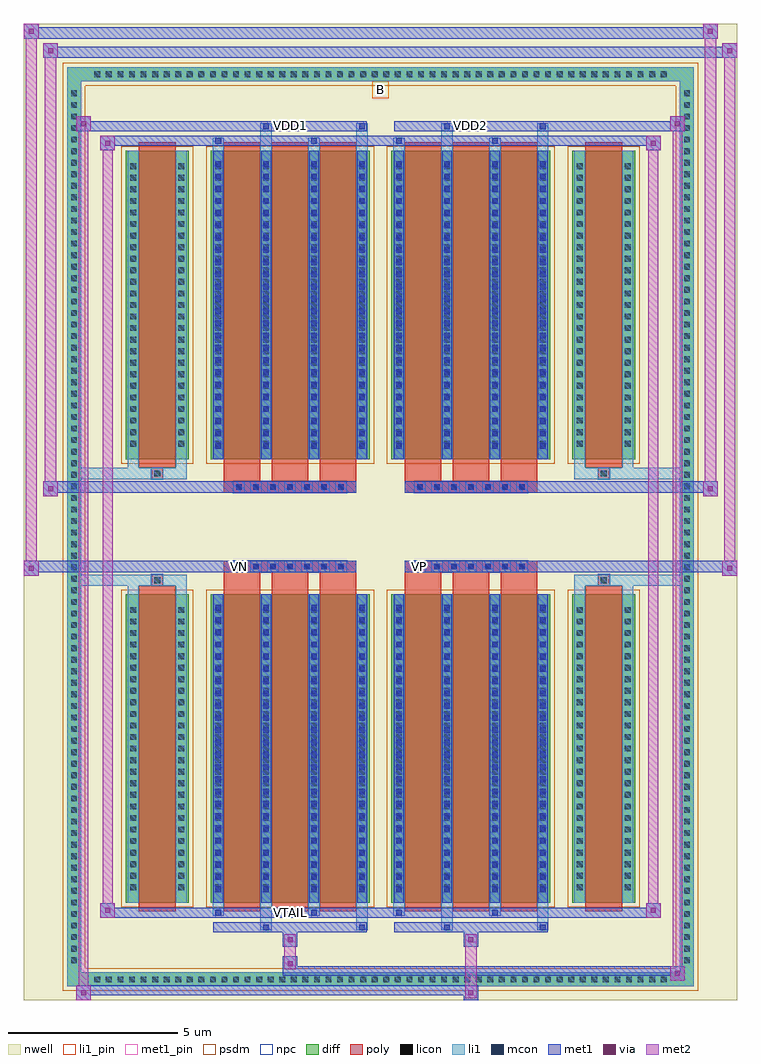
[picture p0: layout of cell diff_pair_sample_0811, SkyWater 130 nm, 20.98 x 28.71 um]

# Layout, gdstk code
import gdstk
lib = gdstk.Library(unit=1e-6, precision=5e-09)
def R(c, l, rs):  # rectangles x0, y0, x1, y1
    for r in rs: c.add(gdstk.rectangle(r[:2], r[2:], *l))
def A(c, l, x, y, w, h, nx, ny, dx, dy):  # array of equal rectangles
    R(c, l, [(x+i*dx, y+j*dy, x+i*dx+w, y+j*dy+h) for i in range(nx) for j in range(ny)])
def P(c, l, *ps):  # polygons
    for p in ps: c.add(gdstk.Polygon(p, *l))
nwell = (64, 20)
diff = (65, 20)
poly = (66, 20)
licon = (66, 44)
li1_pin = (67, 16)
li1 = (67, 20)
mcon = (67, 44)
met1_pin = (68, 16)
met1 = (68, 20)
via = (68, 44)
met2 = (69, 20)
psdm = (94, 20)
npc = (95, 20)

diff_pair_sample_0811 = lib.new_cell('diff_pair_sample_0811')
R(diff_pair_sample_0811, nwell, [(-10.49,-13.92,10.49,14.79), (-7.81,-12.11,-0.01,-0.805), (0.01,-12.11,7.81,-0.805), (-7.81,0.805,-0.01,12.11), (0.01,0.805,7.81,12.11)])
A(diff_pair_sample_0811, diff, -8.535, -13.52, 0.41, 0.41, 50, 2, 0.34, 26.63)
A(diff_pair_sample_0811, diff, -9.22, -12.955, 0.41, 0.41, 1, 76, 0, 0.34)
A(diff_pair_sample_0811, diff, 8.81, -12.955, 0.41, 0.41, 1, 76, 0, 0.34)
R(diff_pair_sample_0811, diff, [(-8.535,-13.52,8.535,-13.11), (-9.22,-12.955,-8.81,12.955), (8.81,-12.955,9.22,12.955), (-7.5,-11.065,-5.64,-1.985), (-5,-11.065,-0.32,-1.985), (0.32,-11.065,5,-1.985), (5.64,-11.065,7.5,-1.985), (-7.5,1.985,-5.64,11.065), (-5,1.985,-0.32,11.065), (0.32,1.985,5,11.065), (5.64,1.985,7.5,11.065), (-8.535,13.11,8.535,13.52)])
P(diff_pair_sample_0811, diff, [(9.22,13.52),(-9.22,13.52),(-9.22,-13.11),(-8.81,-13.11),(-8.81,13.11),(8.81,13.11),(8.81,-13.11),(-8.81,-13.11),(-9.22,-13.11),(-9.22,-13.52),(9.22,-13.52)])
A(diff_pair_sample_0811, poly, -4.61, -11.315, 1.08, 9.58, 3, 2, 1.41, 13.05)
A(diff_pair_sample_0811, poly, 0.71, -11.315, 1.08, 9.58, 3, 2, 1.41, 13.05)
A(diff_pair_sample_0811, poly, -4.61, -1.735, 1.08, 0.4, 3, 2, 1.41, 3.07)
A(diff_pair_sample_0811, poly, 0.71, -1.735, 1.08, 0.4, 3, 2, 1.41, 3.07)
A(diff_pair_sample_0811, poly, -4.325, -1.335, 0.33, 0.33, 7, 2, 0.5, 2.34)
A(diff_pair_sample_0811, poly, 0.995, -1.335, 0.33, 0.33, 7, 2, 0.5, 2.34)
R(diff_pair_sample_0811, poly, [(-7.11,-11.315,-6.03,-1.735), (6.03,-11.315,7.11,-1.735), (-6.735,-1.735,-6.405,-1.405), (-6.735,-1.735,-6.405,-1.405), (6.405,-1.735,6.735,-1.405), (6.405,-1.735,6.735,-1.405), (-4.61,-1.335,-0.71,-1.005), (0.71,-1.335,4.61,-1.005), (-4.61,1.005,-0.71,1.335), (0.71,1.005,4.61,1.335), (-6.735,1.405,-6.405,1.735), (-6.735,1.405,-6.405,1.735), (6.405,1.405,6.735,1.735), (6.405,1.405,6.735,1.735), (-7.11,1.735,-6.03,11.315), (6.03,1.735,7.11,11.315)])
A(diff_pair_sample_0811, licon, -8.415, -13.4, 0.17, 0.17, 50, 2, 0.34, 26.63)
A(diff_pair_sample_0811, licon, -9.1, -12.835, 0.17, 0.17, 1, 76, 0, 0.34)
A(diff_pair_sample_0811, licon, 8.93, -12.835, 0.17, 0.17, 1, 76, 0, 0.34)
A(diff_pair_sample_0811, licon, -7.36, -10.69, 0.17, 0.17, 1, 25, 0, 0.34)
A(diff_pair_sample_0811, licon, -5.95, -10.69, 0.17, 0.17, 1, 25, 0, 0.34)
A(diff_pair_sample_0811, licon, -4.86, -10.69, 0.17, 0.17, 4, 25, 1.41, 0.34)
A(diff_pair_sample_0811, licon, 0.46, -10.69, 0.17, 0.17, 4, 25, 1.41, 0.34)
A(diff_pair_sample_0811, licon, 5.78, -10.69, 0.17, 0.17, 1, 25, 0, 0.34)
A(diff_pair_sample_0811, licon, 7.19, -10.69, 0.17, 0.17, 1, 25, 0, 0.34)
A(diff_pair_sample_0811, licon, -4.245, -1.255, 0.17, 0.17, 7, 2, 0.5, 2.34)
A(diff_pair_sample_0811, licon, 1.075, -1.255, 0.17, 0.17, 7, 2, 0.5, 2.34)
A(diff_pair_sample_0811, licon, -7.36, 2.36, 0.17, 0.17, 1, 25, 0, 0.34)
A(diff_pair_sample_0811, licon, -5.95, 2.36, 0.17, 0.17, 1, 25, 0, 0.34)
A(diff_pair_sample_0811, licon, -4.86, 2.36, 0.17, 0.17, 4, 25, 1.41, 0.34)
A(diff_pair_sample_0811, licon, 0.46, 2.36, 0.17, 0.17, 4, 25, 1.41, 0.34)
A(diff_pair_sample_0811, licon, 5.78, 2.36, 0.17, 0.17, 1, 25, 0, 0.34)
A(diff_pair_sample_0811, licon, 7.19, 2.36, 0.17, 0.17, 1, 25, 0, 0.34)
R(diff_pair_sample_0811, licon, [(-6.655,-1.655,-6.485,-1.485), (6.485,-1.655,6.655,-1.485), (-6.655,1.485,-6.485,1.655), (6.485,1.485,6.655,1.655)])
R(diff_pair_sample_0811, li1_pin, [(-0.25,12.61,0.25,13.11)])
A(diff_pair_sample_0811, li1, -8.495, -13.48, 0.33, 0.33, 50, 2, 0.34, 26.63)
A(diff_pair_sample_0811, li1, -9.18, -12.915, 0.33, 0.33, 1, 76, 0, 0.34)
A(diff_pair_sample_0811, li1, 8.85, -12.915, 0.33, 0.33, 1, 76, 0, 0.34)
A(diff_pair_sample_0811, li1, -4.94, -11.065, 0.33, 9.08, 4, 2, 1.41, 13.05)
A(diff_pair_sample_0811, li1, 0.38, -11.065, 0.33, 9.08, 4, 2, 1.41, 13.05)
A(diff_pair_sample_0811, li1, -7.44, -10.77, 0.33, 0.33, 1, 25, 0, 0.34)
A(diff_pair_sample_0811, li1, -6.03, -10.77, 0.33, 0.33, 1, 25, 0, 0.34)
A(diff_pair_sample_0811, li1, -4.94, -10.77, 0.33, 0.33, 4, 25, 1.41, 0.34)
A(diff_pair_sample_0811, li1, 0.38, -10.77, 0.33, 0.33, 4, 25, 1.41, 0.34)
A(diff_pair_sample_0811, li1, 5.7, -10.77, 0.33, 0.33, 1, 25, 0, 0.34)
A(diff_pair_sample_0811, li1, 7.11, -10.77, 0.33, 0.33, 1, 25, 0, 0.34)
A(diff_pair_sample_0811, li1, -4.86, -10.75, 0.17, 0.17, 4, 24, 1.41, 0.36)
A(diff_pair_sample_0811, li1, -4.86, -10.75, 0.17, 8.45, 4, 2, 1.41, 13.05)
A(diff_pair_sample_0811, li1, 0.46, -10.75, 0.17, 0.17, 4, 24, 1.41, 0.36)
A(diff_pair_sample_0811, li1, 0.46, -10.75, 0.17, 8.45, 4, 2, 1.41, 13.05)
A(diff_pair_sample_0811, li1, -4.325, -1.335, 0.33, 0.33, 7, 2, 0.5, 2.34)
A(diff_pair_sample_0811, li1, 0.995, -1.335, 0.33, 0.33, 7, 2, 0.5, 2.34)
A(diff_pair_sample_0811, li1, -7.44, 2.28, 0.33, 0.33, 1, 25, 0, 0.34)
A(diff_pair_sample_0811, li1, -6.03, 2.28, 0.33, 0.33, 1, 25, 0, 0.34)
A(diff_pair_sample_0811, li1, -4.94, 2.28, 0.33, 0.33, 4, 25, 1.41, 0.34)
A(diff_pair_sample_0811, li1, 0.38, 2.28, 0.33, 0.33, 4, 25, 1.41, 0.34)
A(diff_pair_sample_0811, li1, 5.7, 2.28, 0.33, 0.33, 1, 25, 0, 0.34)
A(diff_pair_sample_0811, li1, 7.11, 2.28, 0.33, 0.33, 1, 25, 0, 0.34)
A(diff_pair_sample_0811, li1, -4.86, 2.3, 0.17, 0.17, 4, 24, 1.41, 0.36)
A(diff_pair_sample_0811, li1, 0.46, 2.3, 0.17, 0.17, 4, 24, 1.41, 0.36)
R(diff_pair_sample_0811, li1, [(-9.22,-13.52,-8.81,-13.11), (-9.22,-13.52,-8.81,-13.11), (-8.81,-13.52,8.81,-13.11), (8.81,-13.52,9.22,-13.11), (8.81,-13.52,9.22,-13.11), (-9.22,-13.11,-8.81,13.11), (8.81,-13.11,9.22,13.11), (-3.53,-11.87,-3.2,-11.065), (-3.45,-11.87,-3.28,-11.7), (-0.71,-11.87,-0.38,-11.065), (-0.63,-11.87,-0.46,-11.7), (1.79,-11.87,2.12,-11.065), (1.87,-11.87,2.04,-11.7), (4.61,-11.87,4.94,-11.065), (4.69,-11.87,4.86,-11.7), (-4.94,-11.44,-4.61,-11.065), (-4.86,-11.44,-4.69,-11.27), (-2.12,-11.44,-1.79,-11.065), (-2.04,-11.44,-1.87,-11.27), (0.38,-11.44,0.71,-11.065), (0.46,-11.44,0.63,-11.27), (3.2,-11.44,3.53,-11.065), (3.28,-11.44,3.45,-11.27), (-7.44,-11.065,-7.11,-1.985), (-6.03,-11.065,-5.7,-1.985), (5.7,-11.065,6.03,-1.985), (7.11,-11.065,7.44,-1.985), (-7.44,-1.985,-7.11,-1.405), (-6.03,-1.985,-5.7,-1.405), (5.7,-1.985,6.03,-1.405), (7.11,-1.985,7.44,-1.405), (-9.22,-1.735,-6.735,-1.405), (-7.44,-1.735,-6.735,-1.405), (-6.735,-1.735,-6.405,-1.405), (-6.405,-1.735,-5.7,-1.405), (5.7,-1.735,6.405,-1.405), (6.405,-1.735,6.735,-1.405), (6.405,-1.735,9.22,-1.405), (6.735,-1.735,7.44,-1.405), (-9.22,1.405,-6.735,1.735), (-7.44,1.405,-6.735,1.735), (-7.44,1.405,-7.11,1.985), (-6.735,1.405,-6.405,1.735), (-6.405,1.405,-5.7,1.735), (-6.03,1.405,-5.7,1.985), (5.7,1.405,6.405,1.735), (5.7,1.405,6.03,1.985), (6.405,1.405,6.735,1.735), (6.405,1.405,9.22,1.735), (6.735,1.405,7.44,1.735), (7.11,1.405,7.44,1.985), (-7.44,1.985,-7.11,11.065), (-6.03,1.985,-5.7,11.065), (5.7,1.985,6.03,11.065), (7.11,1.985,7.44,11.065), (-4.94,11.065,-4.61,11.44), (-3.53,11.065,-3.2,11.87), (-2.12,11.065,-1.79,11.44), (-0.71,11.065,-0.38,11.87), (0.38,11.065,0.71,11.44), (1.79,11.065,2.12,11.87), (3.2,11.065,3.53,11.44), (4.61,11.065,4.94,11.87), (-4.86,11.27,-4.69,11.44), (-2.04,11.27,-1.87,11.44), (0.46,11.27,0.63,11.44), (3.28,11.27,3.45,11.44), (-3.45,11.7,-3.28,11.87), (-0.63,11.7,-0.46,11.87), (1.87,11.7,2.04,11.87), (4.69,11.7,4.86,11.87), (-9.22,13.11,-8.81,13.52), (-9.22,13.11,-8.81,13.52), (-8.81,13.11,8.81,13.52), (8.81,13.11,9.22,13.52), (8.81,13.11,9.22,13.52)])
A(diff_pair_sample_0811, mcon, -4.86, -10.75, 0.17, 0.17, 4, 24, 1.41, 0.36)
A(diff_pair_sample_0811, mcon, 0.46, -10.75, 0.17, 0.17, 4, 24, 1.41, 0.36)
A(diff_pair_sample_0811, mcon, -4.245, -1.255, 0.17, 0.17, 7, 2, 0.5, 2.34)
A(diff_pair_sample_0811, mcon, 1.075, -1.255, 0.17, 0.17, 7, 2, 0.5, 2.34)
A(diff_pair_sample_0811, mcon, -4.86, 2.3, 0.17, 0.17, 4, 24, 1.41, 0.36)
A(diff_pair_sample_0811, mcon, 0.46, 2.3, 0.17, 0.17, 4, 24, 1.41, 0.36)
R(diff_pair_sample_0811, mcon, [(-3.45,-11.87,-3.28,-11.7), (-0.63,-11.87,-0.46,-11.7), (1.87,-11.87,2.04,-11.7), (4.69,-11.87,4.86,-11.7), (-4.86,-11.44,-4.69,-11.27), (-2.04,-11.44,-1.87,-11.27), (0.46,-11.44,0.63,-11.27), (3.28,-11.44,3.45,-11.27), (-4.86,11.27,-4.69,11.44), (-2.04,11.27,-1.87,11.44), (0.46,11.27,0.63,11.44), (3.28,11.27,3.45,11.44), (-3.45,11.7,-3.28,11.87), (-0.63,11.7,-0.46,11.87), (1.87,11.7,2.04,11.87), (4.69,11.7,4.86,11.87)])
R(diff_pair_sample_0811, met1_pin, [(-2.795,-11.48,-2.525,-11.21), (-4.295,-1.295,-4.025,-1.025), (1.025,-1.295,1.295,-1.025), (-2.795,11.66,-2.525,11.93), (2.525,11.66,2.795,11.93)])
A(diff_pair_sample_0811, met1, -4.92, -11.065, 0.29, 9.08, 4, 2, 1.41, 13.05)
A(diff_pair_sample_0811, met1, 0.4, -11.065, 0.29, 9.08, 4, 2, 1.41, 13.05)
A(diff_pair_sample_0811, met1, -4.92, -10.81, 0.29, 0.29, 4, 24, 1.41, 0.36)
A(diff_pair_sample_0811, met1, 0.4, -10.81, 0.29, 0.29, 4, 24, 1.41, 0.36)
A(diff_pair_sample_0811, met1, -4.305, -1.315, 0.29, 0.29, 7, 2, 0.5, 2.34)
A(diff_pair_sample_0811, met1, 1.015, -1.315, 0.29, 0.29, 7, 2, 0.5, 2.34)
A(diff_pair_sample_0811, met1, -4.92, 2.24, 0.29, 0.29, 4, 24, 1.41, 0.36)
A(diff_pair_sample_0811, met1, 0.4, 2.24, 0.29, 0.29, 4, 24, 1.41, 0.36)
R(diff_pair_sample_0811, met1, [(-8.95,-13.92,-8.52,-13.49), (2.445,-13.92,2.875,-13.49), (-8.95,-13.78,2.875,-13.49), (8.52,-13.35,8.95,-12.92), (-2.875,-13.21,8.95,-12.92), (-2.875,-13.07,-2.445,-12.64), (-2.875,-12.36,-2.445,-11.93), (2.445,-12.36,2.875,-11.93), (-4.92,-11.93,-0.4,-11.64), (-3.51,-11.93,-3.22,-11.64), (-0.69,-11.93,-0.4,-11.64), (0.4,-11.93,4.92,-11.64), (1.81,-11.93,2.1,-11.64), (4.63,-11.93,4.92,-11.64), (-8.24,-11.5,-7.81,-11.07), (-8.24,-11.5,-4.92,-11.21), (-4.92,-11.5,-4.63,-11.21), (-4.92,-11.5,-0.4,-11.21), (-2.1,-11.5,-1.81,-11.21), (-0.4,-11.5,0.4,-11.21), (0.4,-11.5,0.69,-11.21), (0.4,-11.5,4.92,-11.21), (3.22,-11.5,3.51,-11.21), (4.92,-11.5,8.24,-11.21), (7.81,-11.5,8.24,-11.07), (-10.49,-1.435,-10.06,-1.005), (10.06,-1.435,10.49,-1.005), (-10.49,-1.335,-0.71,-1.005), (-4.61,-1.335,-0.71,-1.005), (0.71,-1.335,4.61,-1.005), (0.71,-1.335,10.49,-1.005), (-9.92,0.905,-9.49,1.335), (9.49,0.905,9.92,1.335), (-9.92,1.005,-4.61,1.335), (-4.61,1.005,-0.71,1.335), (0.71,1.005,4.61,1.335), (4.61,1.005,9.92,1.335), (-8.24,11.07,-7.81,11.5), (7.81,11.07,8.24,11.5), (-8.24,11.21,-4.92,11.5), (-4.92,11.21,-4.63,11.5), (-4.92,11.21,-0.4,11.5), (-2.1,11.21,-1.81,11.5), (-0.4,11.21,0.4,11.5), (0.4,11.21,0.69,11.5), (0.4,11.21,4.92,11.5), (3.22,11.21,3.51,11.5), (4.92,11.21,8.24,11.5), (-8.95,11.64,-8.52,12.07), (-8.95,11.64,-4.92,11.93), (-4.92,11.64,-0.4,11.93), (-3.51,11.64,-3.22,11.93), (-0.69,11.64,-0.4,11.93), (0.4,11.64,4.92,11.93), (1.81,11.64,2.1,11.93), (4.63,11.64,4.92,11.93), (4.92,11.64,8.95,11.93), (8.52,11.64,8.95,12.07), (-9.92,13.79,-9.49,14.22), (-9.92,13.79,-7.81,14.12), (-7.81,13.79,7.81,14.12), (7.81,13.79,10.49,14.12), (10.06,13.79,10.49,14.22), (-10.49,14.36,-10.06,14.79), (-10.49,14.36,-7.81,14.69), (-7.81,14.36,7.81,14.69), (7.81,14.36,9.92,14.69), (9.49,14.36,9.92,14.79)])
R(diff_pair_sample_0811, via, [(-8.81,-13.78,-8.66,-13.63), (2.585,-13.78,2.735,-13.63), (8.66,-13.21,8.81,-13.06), (-2.735,-12.93,-2.585,-12.78), (-2.735,-12.22,-2.585,-12.07), (2.585,-12.22,2.735,-12.07), (-8.1,-11.36,-7.95,-11.21), (7.95,-11.36,8.1,-11.21), (-10.35,-1.295,-10.2,-1.145), (10.2,-1.295,10.35,-1.145), (-9.78,1.045,-9.63,1.195), (9.63,1.045,9.78,1.195), (-8.1,11.21,-7.95,11.36), (7.95,11.21,8.1,11.36), (-8.81,11.78,-8.66,11.93), (8.66,11.78,8.81,11.93), (-9.78,13.93,-9.63,14.08), (10.2,13.93,10.35,14.08), (-10.35,14.5,-10.2,14.65), (9.63,14.5,9.78,14.65)])
R(diff_pair_sample_0811, met2, [(-8.95,-13.92,-8.52,-13.49), (-8.88,-13.92,-8.59,12.07), (-8.59,-13.92,-8.52,-13.49), (-8.9,-13.87,-8.57,-13.54), (2.495,-13.87,2.825,-13.54), (2.495,-13.54,2.825,-12.31), (8.52,-13.35,8.95,-12.92), (8.59,-13.35,8.88,12.07), (8.88,-13.35,8.95,-12.92), (8.57,-13.3,8.9,-12.97), (-2.825,-13.02,-2.495,-12.69), (-2.825,-12.69,-2.495,-12.31), (-2.825,-12.31,-2.495,-11.98), (2.495,-12.31,2.825,-11.98), (-8.24,-11.5,-7.81,-11.07), (-8.17,-11.5,-7.88,11.5), (-7.88,-11.5,-7.81,-11.07), (7.81,-11.5,8.24,-11.07), (7.88,-11.5,8.17,11.5), (8.17,-11.5,8.24,-11.07), (-8.19,-11.45,-7.86,-11.12), (7.86,-11.45,8.19,-11.12), (-10.49,-1.435,-10.06,-1.005), (-10.44,-1.435,-10.11,14.79), (-10.11,-1.435,-10.06,-1.005), (10.06,-1.435,10.49,-1.005), (10.11,-1.435,10.44,14.22), (10.44,-1.435,10.49,-1.005), (-10.44,-1.385,-10.11,-1.055), (10.11,-1.385,10.44,-1.055), (-9.92,0.905,-9.49,1.335), (-9.87,0.905,-9.54,14.22), (-9.54,0.905,-9.49,1.335), (9.49,0.905,9.92,1.335), (9.54,0.905,9.87,14.79), (9.87,0.905,9.92,1.335), (-9.87,0.955,-9.54,1.285), (9.54,0.955,9.87,1.285), (-8.24,11.07,-7.81,11.5), (-7.88,11.07,-7.81,11.5), (7.81,11.07,8.24,11.5), (8.17,11.07,8.24,11.5), (-8.19,11.12,-7.86,11.45), (7.86,11.12,8.19,11.45), (-8.95,11.64,-8.52,12.07), (-8.59,11.64,-8.52,12.07), (8.52,11.64,8.95,12.07), (8.88,11.64,8.95,12.07), (-8.9,11.69,-8.57,12.02), (8.57,11.69,8.9,12.02), (-9.92,13.79,-9.49,14.22), (-9.54,13.79,-9.49,14.22), (10.06,13.79,10.49,14.22), (10.44,13.79,10.49,14.22), (-9.87,13.84,-9.54,14.17), (10.11,13.84,10.44,14.17), (-10.49,14.36,-10.06,14.79), (-10.11,14.36,-10.06,14.79), (9.49,14.36,9.92,14.79), (9.87,14.36,9.92,14.79), (-10.44,14.41,-10.11,14.74), (9.54,14.41,9.87,14.74)])
R(diff_pair_sample_0811, psdm, [(-7.63,-11.195,-5.51,-1.855), (-5.13,-11.195,-0.19,-1.855), (0.19,-11.195,5.13,-1.855), (5.51,-11.195,7.63,-1.855), (-7.63,1.855,-5.51,11.195), (-5.13,1.855,-0.19,11.195), (0.19,1.855,5.13,11.195), (5.51,1.855,7.63,11.195)])
P(diff_pair_sample_0811, psdm, [(9.35,13.65),(-9.35,13.65),(-9.35,-12.98),(-8.68,-12.98),(-8.68,12.98),(8.68,12.98),(8.68,-12.98),(-8.68,-12.98),(-9.35,-12.98),(-9.35,-13.65),(9.35,-13.65)])
A(diff_pair_sample_0811, npc, -4.345, -1.355, 0.37, 0.37, 7, 2, 0.5, 2.34)
A(diff_pair_sample_0811, npc, 0.975, -1.355, 0.37, 0.37, 7, 2, 0.5, 2.34)
R(diff_pair_sample_0811, npc, [(-6.755,-1.755,-6.385,-1.385), (6.385,-1.755,6.755,-1.385), (-4.345,-1.355,-3.475,-0.985), (-4.345,-1.355,-3.475,-0.985), (-3.845,-1.355,-2.975,-0.985), (-3.845,-1.355,-2.975,-0.985), (-3.345,-1.355,-2.475,-0.985), (-3.345,-1.355,-2.475,-0.985), (-2.845,-1.355,-1.975,-0.985), (-2.845,-1.355,-1.975,-0.985), (-2.345,-1.355,-1.475,-0.985), (-2.345,-1.355,-1.475,-0.985), (-1.845,-1.355,-0.975,-0.985), (-1.845,-1.355,-0.975,-0.985), (0.975,-1.355,1.845,-0.985), (0.975,-1.355,1.845,-0.985), (1.475,-1.355,2.345,-0.985), (1.475,-1.355,2.345,-0.985), (1.975,-1.355,2.845,-0.985), (1.975,-1.355,2.845,-0.985), (2.475,-1.355,3.345,-0.985), (2.475,-1.355,3.345,-0.985), (2.975,-1.355,3.845,-0.985), (2.975,-1.355,3.845,-0.985), (3.475,-1.355,4.345,-0.985), (3.475,-1.355,4.345,-0.985), (-4.345,0.985,-3.475,1.355), (-4.345,0.985,-3.475,1.355), (-3.845,0.985,-2.975,1.355), (-3.845,0.985,-2.975,1.355), (-3.345,0.985,-2.475,1.355), (-3.345,0.985,-2.475,1.355), (-2.845,0.985,-1.975,1.355), (-2.845,0.985,-1.975,1.355), (-2.345,0.985,-1.475,1.355), (-2.345,0.985,-1.475,1.355), (-1.845,0.985,-0.975,1.355), (-1.845,0.985,-0.975,1.355), (0.975,0.985,1.845,1.355), (0.975,0.985,1.845,1.355), (1.475,0.985,2.345,1.355), (1.475,0.985,2.345,1.355), (1.975,0.985,2.845,1.355), (1.975,0.985,2.845,1.355), (2.475,0.985,3.345,1.355), (2.475,0.985,3.345,1.355), (2.975,0.985,3.845,1.355), (2.975,0.985,3.845,1.355), (3.475,0.985,4.345,1.355), (3.475,0.985,4.345,1.355), (-6.755,1.385,-6.385,1.755), (6.385,1.385,6.755,1.755)])
diff_pair_sample_0811.add(gdstk.Label('VTAIL', (-2.66,-11.345), layer=68, texttype=5))
diff_pair_sample_0811.add(gdstk.Label('VN', (-4.16,-1.16), layer=68, texttype=5))
diff_pair_sample_0811.add(gdstk.Label('VP', (1.16,-1.16), layer=68, texttype=5))
diff_pair_sample_0811.add(gdstk.Label('B', (0,12.86), layer=67, texttype=5))
diff_pair_sample_0811.add(gdstk.Label('VDD2', (2.66,11.795), layer=68, texttype=5))
diff_pair_sample_0811.add(gdstk.Label('VDD1', (-2.66,11.795), layer=68, texttype=5))

lib.write_gds('diff_pair_sample_0811.gds')
